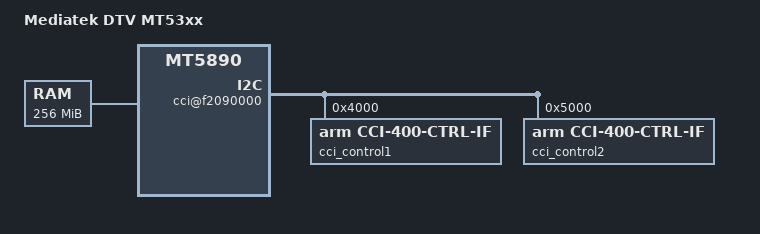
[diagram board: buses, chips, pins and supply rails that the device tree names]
/*
 * Device Tree for the Mediatek MT53xx platform
 */

/dts-v1/;

/ {
	model = "Mediatek DTV MT53xx";
	compatible = "Mediatek,MT53xx";

	memory {
		device_type = "memory";
		reg = <0 0x10000000>;
	};

    chosen {
        bootargs ="";
    };

	cpus {
		cpu0: cpu@0 {
			device_type = "cpu";
			compatible = "arm,cortex-a12";
            cci-control-port = <&cci_control1>;
			reg = <0x0>;
			clock-frequency = <1000000000>;
		};

		cpu1: cpu@1 {
			device_type = "cpu";
			compatible = "arm,cortex-a12";
            cci-control-port = <&cci_control1>;
			reg = <0x1>;
			clock-frequency = <1000000000>;
		};

        cpu2: cpu@2 {
            device_type = "cpu";
            compatible = "arm,cortex-a7";
            cci-control-port = <&cci_control2>;
            reg = <0x100>;
			clock-frequency = <1000000000>;
        };

        cpu3: cpu@3 {
            device_type = "cpu";
            compatible = "arm,cortex-a7";
            cci-control-port = <&cci_control2>;
            reg = <0x101>;
			clock-frequency = <1000000000>;
        };
	};

    cci@f2090000 {
        compatible = "arm,cci-400";
        #address-cells = <1>;
        #size-cells = <1>;
        reg = <0xf2090000 0x1000>;
        ranges = <0x0 0xf2090000 0x6000>;

        cci_control1: slave-if@4000 {
            compatible = "arm,cci-400-ctrl-if";
            interface-type = "ace";
            reg = <0x4000 0x1000>;
        };

        cci_control2: slave-if@5000 {
            compatible = "arm,cci-400-ctrl-if";
            interface-type = "ace";
            reg = <0x5000 0x1000>;
        };
	};

	gic: interrupt-controller@f2011000 {
		compatible = "arm,cortex-a15-gic";
		#interrupt-cells = <3>;
		#address-cells = <0>;
		interrupt-controller;
		reg = <0xf2011000 0x1000>,
			<0xf2012000 0x1000>;

		gic-cpuif@0 {
			compatible = "arm,gic-cpuif";
			cpuif-id = <0>;
			cpu = <&cpu0>;
		};
		gic-cpuif@2 {
			compatible = "arm,gic-cpuif";
			cpuif-id = <2>;
			cpu = <&cpu1>;
		};
	};

    system_timer {
        compatible = "mediatek,mt53xx-system-timer";
        reg = <0xf0008000 0x1000>;
		interrupt-parent = <&gic>;
        interrupts = <0 3 0x8>;
        clock-frequency = <24000000>;
    };

	timer {
		compatible = "arm,armv7-timer";
		interrupt-parent = <&gic>;
		/* PPI secure/nonsecure IRQ, active low level-sensitive */
		interrupts = <1 13 0xf08>,
			     <1 14 0xf08>;
		clock-frequency = <24000000>;
	};


};
